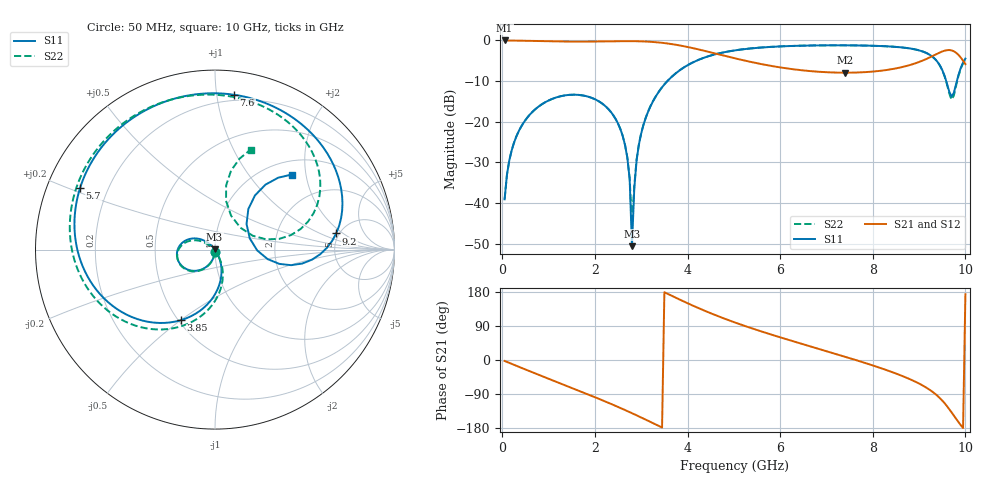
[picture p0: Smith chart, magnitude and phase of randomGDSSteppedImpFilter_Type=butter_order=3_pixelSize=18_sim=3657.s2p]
! freq	dB(S11)	phase(S11)	dB(S12)	phase(S12)
!  dB(S21)	phase(S21)	dB(S22)	phase(S22)
!S-par simulation data
#  GHz  S  DB  R 50
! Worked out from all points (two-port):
!   200 points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, 50 MHz to 10 GHz, reference 50 ohm
!   highest |S21| = 0.00 dB at 50 MHz (marker M1); lowest = -7.9 dB at 7.4 GHz (marker M2)
!   |S21| within 3 dB of the highest: start of sweep to 4.526 GHz; 9.442 GHz to 9.796 GHz (353.6 MHz wide, 3.68 % of centre)
!   lowest |S11| = -50.6 dB at 2.8 GHz (marker M3), VSWR 1.01, Z = 49.8 + j0.175 ohm
!   |S11| at or under -10 dB: start of sweep to 3.566 GHz; 9.586 GHz to 9.815 GHz (229.6 MHz wide, 2.37 % of centre)
!   |S22| runs from -45.2 to -1.2 dB; largest |S21 - S12| = 0
!   S11 on the Smith chart (normalised r, x): 50 MHz: 1.00, -0.02; 3.85 GHz: 0.51, -0.50; 5.7 GHz: 0.10, +0.21; 7.6 GHz: 0.16, +1.12; 9.2 GHz: 4.72, +1.59; 10 GHz: 1.28, +1.66
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0.05  -39.11 -92.4  -0.00 -2.5  -0.00 -2.5  -39.11 -92.3
0.2  -27.15 -100.4  -0.03 -10.1  -0.03 -10.1  -27.15 -100.1
0.5  -19.59 -116.0  -0.08 -25.0  -0.08 -25.0  -19.59 -115.1
1.75  -13.56 -178.0  -0.29 -85.8  -0.29 -85.8  -13.56 -174.8
2.3  -17.00 154.0  -0.22 -113.4  -0.22 -113.4  -17.01 159.0
2.6  -23.49 138.1  -0.18 -129.3  -0.18 -129.3  -23.51 145.6
2.75  -34.05 130.9  -0.17 -137.5  -0.17 -137.5  -33.95 147.7
2.8  -50.63 143.4  -0.18 -140.3  -0.18 -140.3  -45.15 -164.6
2.85  -36.47 -58.7  -0.18 -143.2  -0.18 -143.2  -35.81 -70.0
2.95  -25.62 -62.9  -0.21 -148.9  -0.21 -148.9  -25.50 -63.0
3.4  -12.30 -89.1  -0.52 -175.2  -0.52 -175.2  -12.27 -84.6
3.85  -7.19 -115.8  -1.27 158.4  -1.27 158.4  -7.17 -109.8
5.05  -2.40 -177.3  -4.47 97.8  -4.47 97.8  -2.39 -167.8
5.7  -1.66 155.6  -6.05 71.3  -6.05 71.3  -1.65 167.1
6.7  -1.24 117.3  -7.59 34.2  -7.59 34.2  -1.24 132.4
7.4  -1.20 90.8  -7.94 8.7  -7.94 8.7  -1.20 108.5
7.6  -1.22 83.0  -7.91 1.2  -7.91 1.2  -1.22 101.5
8.35  -1.47 52.1  -7.18 -28.9  -7.18 -28.9  -1.47 73.1
9.2  -3.33 7.6  -4.34 -76.3  -4.34 -76.3  -3.34 30.5
9.5  -7.26 -11.6  -2.72 -107.0  -2.72 -107.0  -7.32 10.8
9.7  -13.83 17.8  -2.44 -137.8  -2.44 -137.8  -14.56 40.7
10  -4.47 44.4  -5.82 173.5  -5.82 173.5  -4.57 70.4
